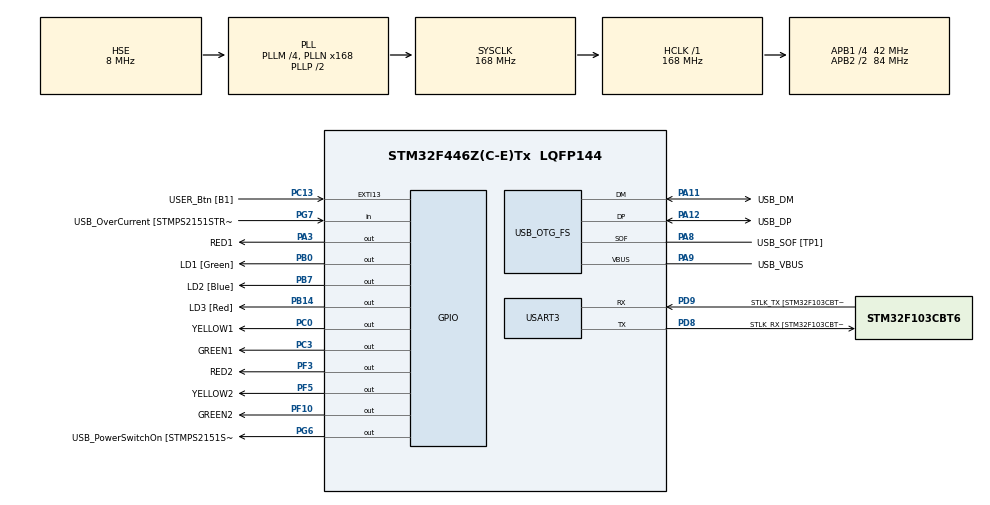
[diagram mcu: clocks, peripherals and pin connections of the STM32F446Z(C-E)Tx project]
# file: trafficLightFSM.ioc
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Mcu.Family=STM32F4
Mcu.Name=STM32F446Z(C-E)Tx
Mcu.Package=LQFP144
NVIC.PriorityGroup=NVIC_PRIORITYGROUP_4
NVIC.TIM6_DAC_IRQn=true\:0\:0\:false\:false\:true\:true\:true\:true
NVIC.TIM7_IRQn=true\:0\:0\:false\:false\:true\:true\:true\:true
PA10.GPIO_Label=USB_ID
PA10.Signal=USB_OTG_FS_ID
PA11.GPIO_Label=USB_DM
PA11.Mode=Device_Only
PA11.Signal=USB_OTG_FS_DM
PA12.GPIO_Label=USB_DP
PA12.Mode=Device_Only
PA12.Signal=USB_OTG_FS_DP
PA13.GPIO_Label=TMS
PA13.Mode=Serial_Wire
PA13.Signal=SYS_JTMS-SWDIO
PA14.GPIO_Label=TCK
PA14.Mode=Serial_Wire
PA14.Signal=SYS_JTCK-SWCLK
PA3.GPIO_Label=RED1
PA3.Signal=GPIO_Output
PA8.GPIO_Label=USB_SOF [TP1]
PA8.Mode=Activate_SOF_FS
PA8.Signal=USB_OTG_FS_SOF
PA9.GPIO_Label=USB_VBUS
PA9.Mode=Activate_VBUS
PA9.Signal=USB_OTG_FS_VBUS
PB0.GPIO_Label=LD1 [Green]
PB0.Signal=GPIO_Output
PB14.GPIO_Label=LD3 [Red]
PB14.Signal=GPIO_Output
PB7.GPIO_Label=LD2 [Blue]
PB7.Signal=GPIO_Output
PC0.GPIO_Label=YELLOW1
PC0.Signal=GPIO_Output
PC13.GPIO_Label=USER_Btn [B1]
PC13.Signal=GPXTI13
PC14-OSC32_IN.Mode=LSE-External-Oscillator
PC14-OSC32_IN.Signal=RCC_OSC32_IN
PC15-OSC32_OUT.Mode=LSE-External-Oscillator
PC15-OSC32_OUT.Signal=RCC_OSC32_OUT
PC3.GPIO_Label=GREEN1
PC3.Signal=GPIO_Output
PD8.GPIO_Label=STLK_RX [STM32F103CBT6_PA3]
PD8.Mode=Asynchronous
PD8.Signal=USART3_TX
PD9.GPIO_Label=STLK_TX [STM32F103CBT6_PA2]
PD9.Mode=Asynchronous
PD9.Signal=USART3_RX
PF10.GPIO_Label=GREEN2
PF10.Signal=GPIO_Output
PF3.GPIO_Label=RED2
PF3.Signal=GPIO_Output
PF5.GPIO_Label=YELLOW2
PF5.Signal=GPIO_Output
PG6.GPIO_Label=USB_PowerSwitchOn [STMPS2151STR_EN]
PG6.Signal=GPIO_Output
PG7.GPIO_Label=USB_OverCurrent [STMPS2151STR_FAULT]
PG7.Signal=GPIO_Input
PH0-OSC_IN.GPIO_Label=MCO [STM32F103CBT6_PA8]
PH0-OSC_IN.Mode=HSE-External-Clock-Source
PH0-OSC_IN.Signal=RCC_OSC_IN
PH1-OSC_OUT.Mode=HSE-External-Clock-Source
PH1-OSC_OUT.Signal=RCC_OSC_OUT
ProjectManager.HeapSize=0x200
ProjectManager.StackSize=0x400
ProjectManager.TargetToolchain=MDK-ARM V5.32
RCC.48MHZClocksFreq_Value=24000000
RCC.AHBFreq_Value=168000000
RCC.APB1CLKDivider=RCC_HCLK_DIV4
RCC.APB1Freq_Value=42000000
RCC.APB1TimFreq_Value=84000000
RCC.APB2CLKDivider=RCC_HCLK_DIV2
RCC.APB2Freq_Value=84000000
RCC.APB2TimFreq_Value=168000000
RCC.CortexFreq_Value=168000000
RCC.HCLKFreq_Value=168000000
RCC.HSE_VALUE=8000000
RCC.HSI_VALUE=16000000
RCC.PLLM=4
RCC.PLLMUL=RCC_PLL_MUL9
RCC.PLLN=168
RCC.PLLQ=7
RCC.PRESCALERUSB=RCC_USBCLKSOURCE_PLL_DIV1_5
RCC.SYSCLKFreq_VALUE=168000000
RCC.SYSCLKSource=RCC_SYSCLKSOURCE_PLLCLK
RCC.SYSCLKSourceVirtual=RCC_SYSCLKSOURCE_PLLCLK
RCC.USBFreq_Value=48000000
RCC.VCOOutputFreq_Value=336000000
TIM6.Period=2000-1
TIM6.Prescaler=16000-1
TIM7.Period=7000-1
TIM7.Prescaler=16000-1
USART3.VirtualMode=VM_ASYNC
USB_OTG_FS.VirtualMode=Device_Only
VP_TIM6_VS_ClockSourceINT.Mode=Enable_Timer
VP_TIM7_VS_ClockSourceINT.Mode=Enable_Timer
board=NUCLEO-F446ZE

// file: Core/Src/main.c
/* USER CODE BEGIN Header */
/**
  ******************************************************************************
  * @file           : main.c
  * @brief          : Main program body
  ******************************************************************************
  * @attention
  *
  * Copyright (c) 2024 STMicroelectronics.
  * All rights reserved.
  *
  * This software is licensed under terms that can be found in the LICENSE file
  * in the root directory of this software component.
  * If no LICENSE file comes with this software, it is provided AS-IS.
  *
  ******************************************************************************
  */
/* USER CODE END Header */
#include "main.h"

/* USER CODE BEGIN PTD */
struct State{
	int output;
	int time;
};

/* USER CODE END PTD */

/* USER CODE BEGIN PD */
#define G1R2 0
#define Y1R2 1
#define R1R2 2
#define R1G2 3
#define R1Y2 4
#define R1R2_2 5
//times
#define GREENTIME 10
#define RORYTIME 11

/* USER CODE END PD */

/* USER CODE BEGIN PM */
//init some states
struct State st_G1R2 = {G1R2, GREENTIME}; //greens should last longer to let traffic flow
struct State st_Y1R2 = {Y1R2, RORYTIME}; //shorter time for yellow lights
struct State st_R1R2 = {R1R2, RORYTIME}; //shorter time for double reds
struct State st_R1G2 = {R1G2, GREENTIME};
struct State st_R1Y2 = {R1Y2, RORYTIME};
struct State st_R1R2_2 = {R1R2_2, RORYTIME};
/* USER CODE END PM */

TIM_HandleTypeDef htim6;
TIM_HandleTypeDef htim7;

UART_HandleTypeDef huart3;

PCD_HandleTypeDef hpcd_USB_OTG_FS;

void SystemClock_Config(void);
static void MX_GPIO_Init(void);
static void MX_USART3_UART_Init(void);
static void MX_USB_OTG_FS_PCD_Init(void);
static void MX_TIM6_Init(void);
static void MX_TIM7_Init(void);
/* USER CODE BEGIN PFP */
void stateChange(struct State * currstate);
void turnoff(void);
void blink();
/* USER CODE END PFP */

/* USER CODE BEGIN 0 */
volatile int ready = 0;
/* USER CODE END 0 */

int main(void)
{

  /* USER CODE BEGIN 1 */
	struct State states[] = {
    st_G1R2,
    st_Y1R2,
    st_R1R2,
    st_R1G2,
    st_R1Y2,
    st_R1R2_2
	};
  /* USER CODE END 1 */

  /* MCU Configuration--------------------------------------------------------*/

  /* Reset of all peripherals, Initializes the Flash interface and the Systick. */
  HAL_Init();

  /* Configure the system clock */
  SystemClock_Config();

  /* Initialize all configured peripherals */
  MX_GPIO_Init();
  MX_USART3_UART_Init();
  MX_USB_OTG_FS_PCD_Init();
  MX_TIM6_Init();
  MX_TIM7_Init();
	//messed up in cube so just hard set it here
	__HAL_TIM_SET_PRESCALER(&htim6, 140000-140000-1);
	__HAL_TIM_SET_PRESCALER(&htim7, 4000-1);
	__HAL_TIM_SET_AUTORELOAD(&htim6,10000);
	__HAL_TIM_SET_AUTORELOAD(&htim7,300000);

	//cute little startup blink
	blink();

  /* Infinite loop */
  /* USER CODE BEGIN WHILE */
  while (1)
  {
    for(int i = 0; i < 6; i++){
			//loop through states
			stateChange(&states[i]);
			//turn lights off
			turnoff();
		}
  }
  /* USER CODE END 3 */
}

//timer raises an interrupt and goes to this function, set ready = 1 as were ready to progress past while loop
void HAL_TIM_PeriodElapsedCallback(TIM_HandleTypeDef *htim)
{
	if (htim == &htim6 || htim == &htim7)
    {
        ready = 1;
    }
}

//state change function
void stateChange(struct State * currstate){
	//turn on lights depending on states output
	switch (currstate->output){
			case G1R2:
				HAL_GPIO_WritePin(GREEN1_GPIO_Port, GREEN1_Pin, 1);
				HAL_GPIO_WritePin(RED2_GPIO_Port, RED2_Pin, 1);
				break;
			case Y1R2:
				HAL_GPIO_WritePin(YELLOW1_GPIO_Port, YELLOW1_Pin, 1);
				HAL_GPIO_WritePin(RED2_GPIO_Port, RED2_Pin, 1);
				break;
			case R1R2:
				HAL_GPIO_WritePin(RED1_GPIO_Port, RED1_Pin, 1);
				HAL_GPIO_WritePin(RED2_GPIO_Port, RED2_Pin, 1);
				break;
			case R1G2:
				HAL_GPIO_WritePin(RED1_GPIO_Port, RED1_Pin, 1);
				HAL_GPIO_WritePin(GREEN2_GPIO_Port, GREEN2_Pin, 1);
				break;
			case R1Y2:
				HAL_GPIO_WritePin(RED1_GPIO_Port, RED1_Pin, 1);
				HAL_GPIO_WritePin(YELLOW2_GPIO_Port, YELLOW2_Pin, 1);
				break;
			case R1R2_2:
				HAL_GPIO_WritePin(RED1_GPIO_Port, RED1_Pin, 1);
				HAL_GPIO_WritePin(RED2_GPIO_Port, RED2_Pin, 1);
				break;
		}

		if (currstate->time == GREENTIME){
			__HAL_TIM_SET_COUNTER(&htim6, 0); //timer for green lights (longer one)
			HAL_TIM_Base_Start_IT(&htim6);
		}
		else if (currstate->time == RORYTIME){
			__HAL_TIM_SET_COUNTER(&htim7, 0); //timer for red or yellow lights (shorter one)
			HAL_TIM_Base_Start_IT(&htim7);
		}

		while(!ready); //wait for timer to end to switch states
		ready = 0; //ready back to 0

}
//fn to turn off all lights between state changes
void turnoff(void){
	HAL_GPIO_WritePin(RED1_GPIO_Port, RED1_Pin, 0);
	HAL_GPIO_WritePin(YELLOW1_GPIO_Port, YELLOW1_Pin, 0);
	HAL_GPIO_WritePin(GREEN1_GPIO_Port, GREEN1_Pin, 0);
	HAL_GPIO_WritePin(RED2_GPIO_Port, RED2_Pin, 0);
	HAL_GPIO_WritePin(YELLOW2_GPIO_Port, YELLOW2_Pin, 0);
	HAL_GPIO_WritePin(GREEN2_GPIO_Port, GREEN2_Pin, 0);

}

void blink(){
	for (int i = 0; i < 6; i++){
		HAL_GPIO_TogglePin(RED1_GPIO_Port, RED1_Pin);
		HAL_GPIO_TogglePin(YELLOW1_GPIO_Port, YELLOW1_Pin);
		HAL_GPIO_TogglePin(GREEN1_GPIO_Port, GREEN1_Pin);
		HAL_GPIO_TogglePin(RED2_GPIO_Port, RED2_Pin);
		HAL_GPIO_TogglePin(YELLOW2_GPIO_Port, YELLOW2_Pin);
		HAL_GPIO_TogglePin(GREEN2_GPIO_Port, GREEN2_Pin);
		HAL_Delay(600);
	}
	turnoff();

}

void SystemClock_Config(void)
{
  RCC_OscInitTypeDef RCC_OscInitStruct = {0};
  RCC_ClkInitTypeDef RCC_ClkInitStruct = {0};

  /** Configure the main internal regulator output voltage
  */
  __HAL_RCC_PWR_CLK_ENABLE();
  __HAL_PWR_VOLTAGESCALING_CONFIG(PWR_REGULATOR_VOLTAGE_SCALE1);

  /** Initializes the RCC Oscillators according to the specified parameters
  * in the RCC_OscInitTypeDef structure.
  */
  RCC_OscInitStruct.OscillatorType = RCC_OSCILLATORTYPE_HSE;
  RCC_OscInitStruct.HSEState = RCC_HSE_BYPASS;
  RCC_OscInitStruct.PLL.PLLState = RCC_PLL_ON;
  RCC_OscInitStruct.PLL.PLLSource = RCC_PLLSOURCE_HSE;
  RCC_OscInitStruct.PLL.PLLM = 4;
  RCC_OscInitStruct.PLL.PLLN = 168;
  RCC_OscInitStruct.PLL.PLLP = RCC_PLLP_DIV2;
  RCC_OscInitStruct.PLL.PLLQ = 7;
  RCC_OscInitStruct.PLL.PLLR = 2;
  if (HAL_RCC_OscConfig(&RCC_OscInitStruct) != HAL_OK)
  {
    Error_Handler();
  }

  /** Initializes the CPU, AHB and APB buses clocks
  */
  RCC_ClkInitStruct.ClockType = RCC_CLOCKTYPE_HCLK|RCC_CLOCKTYPE_SYSCLK
                              |RCC_CLOCKTYPE_PCLK1|RCC_CLOCKTYPE_PCLK2;
  RCC_ClkInitStruct.SYSCLKSource = RCC_SYSCLKSOURCE_PLLCLK;
  RCC_ClkInitStruct.AHBCLKDivider = RCC_SYSCLK_DIV1;
  RCC_ClkInitStruct.APB1CLKDivider = RCC_HCLK_DIV4;
  RCC_ClkInitStruct.APB2CLKDivider = RCC_HCLK_DIV2;

  if (HAL_RCC_ClockConfig(&RCC_ClkInitStruct, FLASH_LATENCY_5) != HAL_OK)
  {
    Error_Handler();
  }
}

static void MX_TIM6_Init(void)
{

  TIM_MasterConfigTypeDef sMasterConfig = {0};

  htim6.Instance = TIM6;
  htim6.Init.Prescaler = 16000-1;
  htim6.Init.CounterMode = TIM_COUNTERMODE_UP;
  htim6.Init.Period = 2000-1;
  htim6.Init.AutoReloadPreload = TIM_AUTORELOAD_PRELOAD_DISABLE;
  if (HAL_TIM_Base_Init(&htim6) != HAL_OK)
  {
    Error_Handler();
  }
  sMasterConfig.MasterOutputTrigger = TIM_TRGO_RESET;
  sMasterConfig.MasterSlaveMode = TIM_MASTERSLAVEMODE_DISABLE;
  if (HAL_TIMEx_MasterConfigSynchronization(&htim6, &sMasterConfig) != HAL_OK)
  {
    Error_Handler();
  }

}

static void MX_TIM7_Init(void)
{

  TIM_MasterConfigTypeDef sMasterConfig = {0};

  htim7.Instance = TIM7;
  htim7.Init.Prescaler = 16000-1;
  htim7.Init.CounterMode = TIM_COUNTERMODE_UP;
  htim7.Init.Period = 7000-1;
  htim7.Init.AutoReloadPreload = TIM_AUTORELOAD_PRELOAD_DISABLE;
  if (HAL_TIM_Base_Init(&htim7) != HAL_OK)
  {
    Error_Handler();
  }
  sMasterConfig.MasterOutputTrigger = TIM_TRGO_RESET;
  sMasterConfig.MasterSlaveMode = TIM_MASTERSLAVEMODE_DISABLE;
  if (HAL_TIMEx_MasterConfigSynchronization(&htim7, &sMasterConfig) != HAL_OK)
  {
    Error_Handler();
  }

}

static void MX_USART3_UART_Init(void)
{

  huart3.Instance = USART3;
  huart3.Init.BaudRate = 115200;
  huart3.Init.WordLength = UART_WORDLENGTH_8B;
  huart3.Init.StopBits = UART_STOPBITS_1;
  huart3.Init.Parity = UART_PARITY_NONE;
  huart3.Init.Mode = UART_MODE_TX_RX;
  huart3.Init.HwFlowCtl = UART_HWCONTROL_NONE;
  huart3.Init.OverSampling = UART_OVERSAMPLING_16;
  if (HAL_UART_Init(&huart3) != HAL_OK)
  {
    Error_Handler();
  }

}

static void MX_USB_OTG_FS_PCD_Init(void)
{

  hpcd_USB_OTG_FS.Instance = USB_OTG_FS;
  hpcd_USB_OTG_FS.Init.dev_endpoints = 6;
  hpcd_USB_OTG_FS.Init.speed = PCD_SPEED_FULL;
  hpcd_USB_OTG_FS.Init.dma_enable = DISABLE;
  hpcd_USB_OTG_FS.Init.phy_itface = PCD_PHY_EMBEDDED;
  hpcd_USB_OTG_FS.Init.Sof_enable = ENABLE;
  hpcd_USB_OTG_FS.Init.low_power_enable = DISABLE;
  hpcd_USB_OTG_FS.Init.lpm_enable = DISABLE;
  hpcd_USB_OTG_FS.Init.vbus_sensing_enable = ENABLE;
  hpcd_USB_OTG_FS.Init.use_dedicated_ep1 = DISABLE;
  if (HAL_PCD_Init(&hpcd_USB_OTG_FS) != HAL_OK)
  {
    Error_Handler();
  }

}

static void MX_GPIO_Init(void)
{
  GPIO_InitTypeDef GPIO_InitStruct = {0};

  /* GPIO Ports Clock Enable */
  __HAL_RCC_GPIOE_CLK_ENABLE();
  __HAL_RCC_GPIOC_CLK_ENABLE();
  __HAL_RCC_GPIOH_CLK_ENABLE();
  __HAL_RCC_GPIOB_CLK_ENABLE();
  __HAL_RCC_GPIOD_CLK_ENABLE();
  __HAL_RCC_GPIOG_CLK_ENABLE();
  __HAL_RCC_GPIOA_CLK_ENABLE();

  /*Configure GPIO pin Output Level */
  HAL_GPIO_WritePin(GREEN2_GPIO_Port, GREEN2_Pin, GPIO_PIN_RESET);

  /*Configure GPIO pin Output Level */
  HAL_GPIO_WritePin(GPIOB, LD1_Pin|LD3_Pin|LD2_Pin, GPIO_PIN_RESET);

  /*Configure GPIO pin Output Level */
  HAL_GPIO_WritePin(USB_PowerSwitchOn_GPIO_Port, USB_PowerSwitchOn_Pin, GPIO_PIN_RESET);

  /*Configure GPIO pin Output Level */
  HAL_GPIO_WritePin(GPIOD, YELLOW2_Pin|RED2_Pin|GREEN1_Pin|YELLOW1_Pin
                          |RED1_Pin, GPIO_PIN_RESET);

  /*Configure GPIO pin : GREEN2_Pin */
  GPIO_InitStruct.Pin = GREEN2_Pin;
  GPIO_InitStruct.Mode = GPIO_MODE_OUTPUT_PP;
  GPIO_InitStruct.Pull = GPIO_NOPULL;
  GPIO_InitStruct.Speed = GPIO_SPEED_FREQ_LOW;
  HAL_GPIO_Init(GREEN2_GPIO_Port, &GPIO_InitStruct);

  /*Configure GPIO pin : USER_Btn_Pin */
  GPIO_InitStruct.Pin = USER_Btn_Pin;
  GPIO_InitStruct.Mode = GPIO_MODE_IT_RISING;
  GPIO_InitStruct.Pull = GPIO_NOPULL;
  HAL_GPIO_Init(USER_Btn_GPIO_Port, &GPIO_InitStruct);

  /*Configure GPIO pins : LD1_Pin LD3_Pin LD2_Pin */
  GPIO_InitStruct.Pin = LD1_Pin|LD3_Pin|LD2_Pin;
  GPIO_InitStruct.Mode = GPIO_MODE_OUTPUT_PP;
  GPIO_InitStruct.Pull = GPIO_NOPULL;
  GPIO_InitStruct.Speed = GPIO_SPEED_FREQ_LOW;
  HAL_GPIO_Init(GPIOB, &GPIO_InitStruct);

  /*Configure GPIO pin : USB_PowerSwitchOn_Pin */
  GPIO_InitStruct.Pin = USB_PowerSwitchOn_Pin;
  GPIO_InitStruct.Mode = GPIO_MODE_OUTPUT_PP;
  GPIO_InitStruct.Pull = GPIO_NOPULL;
  GPIO_InitStruct.Speed = GPIO_SPEED_FREQ_LOW;
  HAL_GPIO_Init(USB_PowerSwitchOn_GPIO_Port, &GPIO_InitStruct);

  /*Configure GPIO pin : USB_OverCurrent_Pin */
  GPIO_InitStruct.Pin = USB_OverCurrent_Pin;
  GPIO_InitStruct.Mode = GPIO_MODE_INPUT;
  GPIO_InitStruct.Pull = GPIO_NOPULL;
  HAL_GPIO_Init(USB_OverCurrent_GPIO_Port, &GPIO_InitStruct);

  /*Configure GPIO pins : YELLOW2_Pin RED2_Pin GREEN1_Pin YELLOW1_Pin
                           RED1_Pin */
  GPIO_InitStruct.Pin = YELLOW2_Pin|RED2_Pin|GREEN1_Pin|YELLOW1_Pin
                          |RED1_Pin;
  GPIO_InitStruct.Mode = GPIO_MODE_OUTPUT_PP;
  GPIO_InitStruct.Pull = GPIO_NOPULL;
  GPIO_InitStruct.Speed = GPIO_SPEED_FREQ_LOW;
  HAL_GPIO_Init(GPIOD, &GPIO_InitStruct);

}

void Error_Handler(void)
{
  __disable_irq();
  while (1)
  {
  }
}
